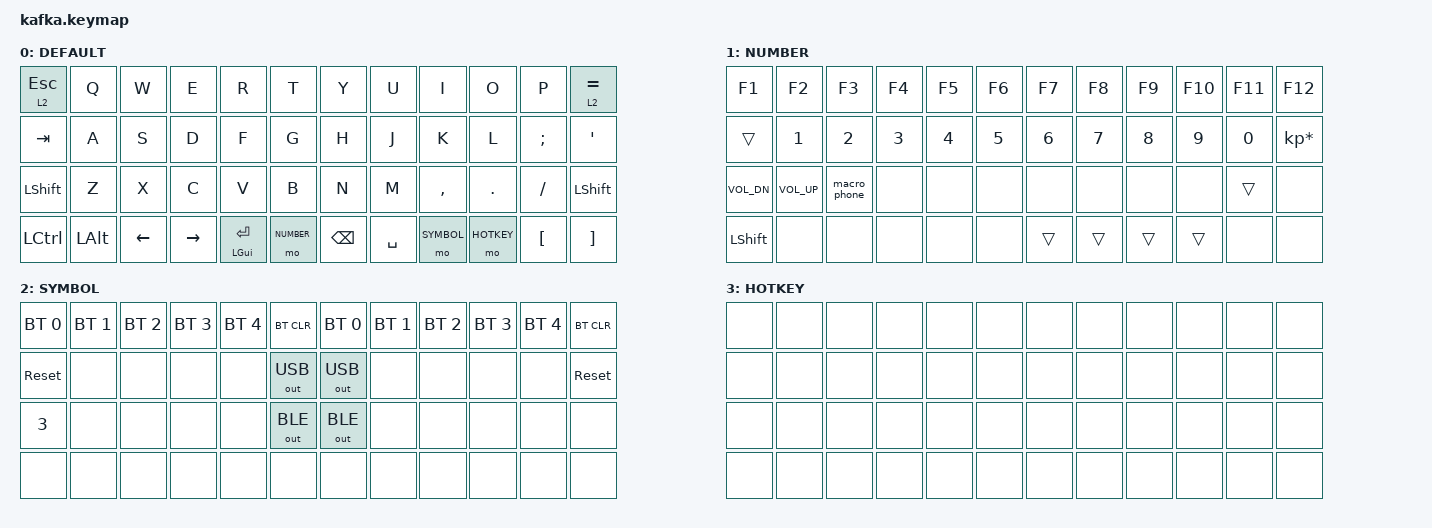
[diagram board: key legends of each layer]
#include <behaviors.dtsi>
#include <dt-bindings/zmk/bt.h>
#include <dt-bindings/zmk/keys.h>
#include <dt-bindings/zmk/outputs.h>

#define DEFAULT 0
#define NUMBER  1
#define SYMBOL  2
#define HOTKEY  3

#define AS(keycode) &as LS(keycode) keycode

/ {
    behaviors {
        td0: tap_dance_0 {
            compatible = "zmk,behavior-tap-dance";
            label = "TAP_DANCE_0";
            #binding-cells = <0>;
            tapping-term-ms = <200>;
            bindings =
                <&kp ESC>,
                <&kp TAB>;
        };
    };

    behaviors {
        as: auto_shift {
            compatible = "zmk,behavior-hold-tap";
            label = "AUTO_SHIFT";
            #binding-cells = <2>;
            tapping-term-ms = <200>;
            quick-tap-ms = <0>;
            flavor = "tap-preferred";
            bindings =
                <&kp>,
                <&kp>;
        };
        modcp: mod_copy {
            compatible = "zmk,behavior-mod-morph";
            label = "MOD_COPY";
            #binding-cells = <0>;
            bindings =
                <&as LS(C) C>,
                <&kp C>;

            mods = <(LGUI | RGUI)>;
        };
    };

    macros {
        macro_phone: macro_phone {

            label = "MACRO_PHONE";
            compatible = "zmk,behavior-macro";
            #binding-cells = <0>;
            bindings = <&kp N1 &kp N3 &kp N5 &kp N1>;
        };
        macro_email_q: macro_email_q {

            label = "MACRO_EMAIL_QQ";
            compatible = "zmk,behavior-macro";
            #binding-cells = <0>;
            bindings = <&kp N2 &kp N8 &kp N9 &kp N4 &kp N5 &kp N1 &kp N2 &kp N4 &kp N4 &kp N0 &kp AT &kp Q &kp Q &kp DOT &kp C &kp O &kp M>;
        };
        macro_email_g: macro_email_g {
            // 135115

            compatible = "zmk,behavior-macro";
            label = "MACRO_EMAIL_GMAIL";
            #binding-cells = <0>;
            bindings = <&kp N1 &kp N3 &kp N5 &kp N1 &kp N1 &kp N5>;
        };
    };

    combos {
        compatible = "zmk,combos";

        combo_lbrc {
            timeout-ms = <50>;
            key-positions = <4 5>; // KP: VB
            bindings = <&mt RBRC LBRC>; // }{
            layers = <0 1 2 3 4 5>;
        };

        combo_rbrc {
            timeout-ms = <50>;
            key-positions = <6 7>; // KP: NM
            bindings = <&kp RBRC>; // }
            layers = <0 1 2 3 4 5>;
        };

        combo_lpar {
            timeout-ms = <50>;
            key-positions = <16 17>; // KP: FG
            bindings = <&mt RPAR LPAR>; // )(
            layers = <0 1 2 3 4 5>;
        };

        combo_rpar {
            timeout-ms = <50>;
            key-positions = <18 19>; // KP: HJ
            bindings = <&kp RPAR>; // )
            layers = <0 1 2 3 4 5>;
        };

        combo_lbkt {
            timeout-ms = <50>;
            key-positions = <28 29>; // KP: RT
            bindings = <&mt RBKT LBKT>; // ][ // 可以用CMD+这个单手返回到代码上一个编辑的地方 或者网页返回
            layers = <0 1 2 3 4 5>;
        };

        combo_rbkt {
            timeout-ms = <50>;
            key-positions = <30 31>; // KP: YU
            bindings = <&kp RBKT>; // ]
            layers = <0 1 2 3 4 5>;
        };

        esc {
            timeout-ms = <50>;
            key-positions = <0 1>;
            bindings = <&kp ESC>; // ESC
            layers = <0>;
        };

        up {
            bindings = <&kp UP>;
            key-positions = <3 4>;
            layers = <0>;
            timeout-ms = <50>;
        };

        down {
            bindings = <&kp DOWN>;
            key-positions = <27 28>;
            timeout-ms = <50>;
            layers = <0>;
        };

        left {
            bindings = <&kp LEFT>;
            key-positions = <14 15>;
            layers = <0>;
            timeout-ms = <50>;
        };

        right {
            bindings = <&kp RIGHT>;
            key-positions = <15 16>;
            layers = <0>;
            timeout-ms = <50>;
        };

        rup {
            bindings = <&kp UP>;
            key-positions = <7 8>;
            layers = <0 1>;
            timeout-ms = <50>;
        };

        rdown {
            bindings = <&kp DOWN>;
            key-positions = <31 32>;
            timeout-ms = <50>;
        };

        rleft {
            bindings = <&kp LEFT>;
            key-positions = <19 20>;
            layers = <0 1>;
            timeout-ms = <50>;
        };

        rright {
            bindings = <&kp RIGHT>;
            key-positions = <20 21>;
            layers = <0 1>;
            timeout-ms = <50>;
        };
    };

    keymap {
        compatible = "zmk,keymap";

        default_layer {
            label = "DEFAULT";
            bindings = <
                        &lt 2 ESC       &kp Q   &kp W         &kp E         &kp R      &kp T                 &kp Y          &kp U          &kp I      &kp O      &kp P     &lt 2 EQUAL
                        &kp TAB         &kp A   &kp S         &kp D         &kp F      &kp G                 &kp H          &kp J          &kp K      &kp L      &kp SEMI  &kp SQT
                        &kp LEFT_SHIFT  &kp Z   &kp X         &kp C         &kp V      &kp B                 &kp N          &kp M          &kp COMMA  &kp DOT    &kp FSLH  &kp LSHFT
                        &kp LCTRL &kp LEFT_ALT  &kp LEFT  &kp RIGHT      &mt LGUI RETURN &mo NUMBER       &kp BACKSPACE  &kp SPACE        &mo SYMBOL &mo HOTKEY  &kp LBKT   &kp RBKT 
            >;
        };

        number_layer {
            label = "NUMBER";
            bindings = <
                        &kp F1        &kp F2         &kp F3  &kp F4  &kp F5      &kp F6      &kp F7  &kp F8   &kp F9   &kp F10   &kp F11  &kp F12
                        &trans  &kp N1         &kp N2  &kp N3  &kp N4      &kp N5       &kp N6      &kp N7   &kp N8   &kp N9    &kp N0   &kp KP_MULTIPLY
                        &kp C_VOL_DN  &kp C_VOL_UP  &macro_phone   &none   &none   &none          &none   &none  &none     &none    &trans        &none
                         &kp LEFT_SHIFT   &none         &none  &none   &none   &none          &trans      &trans     &trans        &trans       &none     &none
            >;
        };

        symbol_layer {
            label = "SYMBOL";
            bindings = <
                        &bt BT_SEL 0  &bt BT_SEL 1  &bt BT_SEL 2  &bt BT_SEL 3  &bt BT_SEL 4  &bt BT_CLR               &bt BT_SEL 0  &bt BT_SEL 1  &bt BT_SEL 2  &bt BT_SEL 3  &bt BT_SEL 4  &bt BT_CLR
                        &sys_reset    &none         &none         &none         &none         &out OUT_USB             &out OUT_USB  &none         &none         &none         &none         &sys_reset
                        &kp N3        &none         &none         &none         &none         &out OUT_BLE             &out OUT_BLE  &none         &none         &none         &none         &none
                        &none         &none         &none         &none         &none         &none                    &none         &none         &none         &none         &none         &none
            >;
        };

        hotkey_layer {
            label = "HOTKEY";
            bindings = <
                        &none  &none  &none  &none  &none  &none         &none  &none  &none  &none  &none  &none
                        &none  &none  &none  &none  &none  &none         &none  &none  &none  &none  &none  &none
                        &none  &none  &none  &none  &none  &none         &none  &none  &none  &none  &none  &none
                        &none  &none  &none  &none  &none  &none         &none  &none  &none  &none  &none  &none
            >;
        };
    };
};
